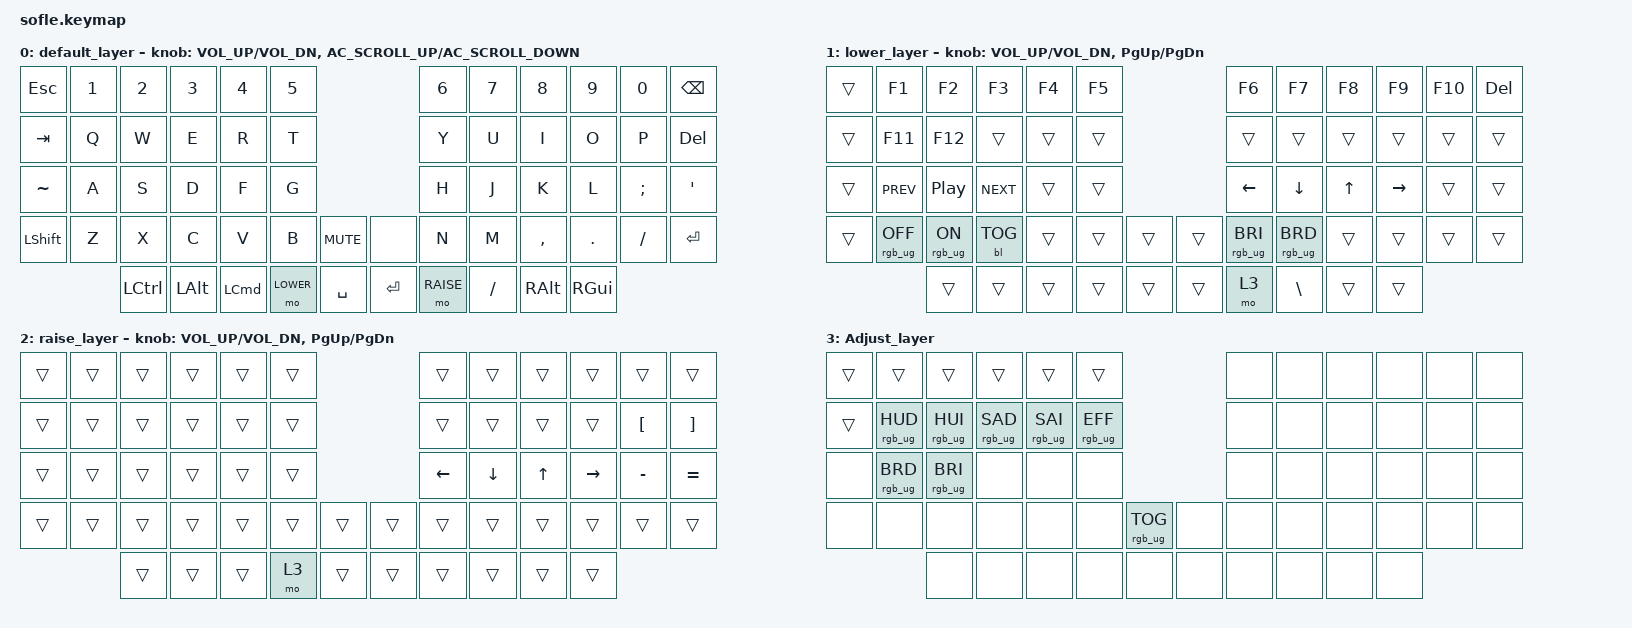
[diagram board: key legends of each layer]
/*
 * Copyright (c) 2020 The ZMK Contributors
 *
 * SPDX-License-Identifier: MIT
 */

#include <behaviors.dtsi>
#include <dt-bindings/zmk/backlight.h>
#include <dt-bindings/zmk/keys.h>
#include <dt-bindings/zmk/rgb.h>

#define BASE 0
#define LOWER 1
#define RAISE 2
#define ADJUST 3

/ {
    // Activate ADJUST layer by pressing raise and lower

    conditional_layers {
        compatible = "zmk,conditional-layers";

        adjust_layer {
            if-layers = <LOWER RAISE>;
            then-layer = <ADJUST>;
        };
    };

    keymap {
        compatible = "zmk,keymap";

        default_layer {
            // ------------------------------------------------------------------------------------------------------------
            // |  `    |  1  |  2  |  3   |  4   |  5   |                   |  6   |  7    |  8    |  9   |   0   |       |
            // |  ESC  |  Q  |  W  |  E   |  R   |  T   |                   |  Y   |  U    |  I    |  O   |   P   | BKSPC |
            // |  TAB  |  A  |  S  |  D   |  F   |  G   |                   |  H   |  J    |  K    |  L   |   ;   |   '   |
            // | SHIFT |  Z  |  X  |  C   |  V   |  B   |  MUTE  |  |       |  N   |  M    |  ,    |  .   |   /   | SHIFT |
            //               | GUI | ALT  | CTRL | LOWER|  ENTER |  | SPACE | RAISE| CTRL  | ALT   | GUI  |

            bindings = <
&kp ESCAPE  &kp N1  &kp N2     &kp N3    &kp N4            &kp N5                            &kp N6     &kp N7     &kp N8     &kp N9    &kp N0    &kp BACKSPACE
&kp TAB     &kp Q   &kp W      &kp E     &kp R             &kp T                             &kp Y      &kp U      &kp I      &kp O     &kp P     &kp DEL
&kp TILDE   &kp A   &kp S      &kp D     &kp F             &kp G                             &kp H      &kp J      &kp K      &kp L     &kp SEMI  &kp SQT
&kp LSHFT   &kp Z   &kp X      &kp C     &kp V             &kp B      &kp C_MUTE    &none    &kp N      &kp M      &kp COMMA  &kp DOT   &kp FSLH  &kp RET
                    &kp LCTRL  &kp LALT  &kp LEFT_COMMAND  &mo LOWER  &kp SPACE     &kp RET  &mo RAISE  &kp SLASH  &kp RALT   &kp RGUI
            >;

            sensor-bindings =
                <&inc_dec_kp C_VOL_UP C_VOL_DN>,
                <&inc_dec_kp C_AC_SCROLL_UP C_AC_SCROLL_DOWN>;
        };

        lower_layer {
            // TODO: Some binds are waiting for shifted keycode support.
            // ------------------------------------------------------------------------------------------------------------
            // |       |  F1 |  F2 |  F3  |  F4  |  F5  |                   |  F6  |  F7   |  F8   |  F9  |  F10  |  F11  |
            // | `     |   1 |   2 |   3  |   4  |   5  |                   |   6  |   7   |   8   |   9  |    0  |  F12  |
            // |       |  !  |  @  |  #   |  $   |  %   |                   |  ^   |  &    |  *    |  (   |   )   |   |   |
            // |       |  =  |  -  |  +   |  {   |  }   |        |  |       |  [   |  ]    |  ;    |  :   |   \   |       |
            //               |     |      |      |      |        |  |       |      |       |       |      |

            bindings = <
&trans  &kp F1           &kp F2            &kp F3      &kp F4  &kp F5                    &kp F6           &kp F7           &kp F8        &kp F9     &kp F10  &kp DEL
&trans  &kp F11          &kp F12           &trans      &trans  &trans                    &trans           &trans           &trans        &trans     &trans   &trans
&trans  &kp C_PREV       &kp C_PLAY_PAUSE  &kp C_NEXT  &trans  &trans                    &kp LEFT         &kp DOWN_ARROW   &kp UP_ARROW  &kp RIGHT  &trans   &trans
&trans  &rgb_ug RGB_OFF  &rgb_ug RGB_ON    &bl BL_TOG  &trans  &trans  &trans    &trans  &rgb_ug RGB_BRI  &rgb_ug RGB_BRD  &trans        &trans     &trans   &trans
                         &trans            &trans      &trans  &trans  &trans    &trans  &mo 3            &kp BACKSLASH    &trans        &trans
            >;

            sensor-bindings = <&inc_dec_kp C_VOL_UP C_VOL_DN &inc_dec_kp PG_UP PG_DN>;
        };

        raise_layer {
            // ------------------------------------------------------------------------------------------------------------
            // |BTCLR| BT1  | BT2  |  BT3  |  BT4  |  BT5 |                |      |      |       |      |       |       |
            // |     | INS  | PSCR | GUI   |       |      |                | PGUP |      |   ^   |      |       |       |
            // |     | ALT  | CTRL | SHIFT |       | CAPS |                | PGDN |   <- |   v   |  ->  |  DEL  | BKSPC |
            // |     | UNDO | CUT  | COPY  | PASTE |      |      |  |      |      |      |       |      |       |       |
            //              |      |       |       |      |      |  |      |      |      |       |      |

            bindings = <
&trans  &trans  &trans  &trans  &trans  &trans                    &trans          &trans    &trans        &trans     &trans            &trans
&trans  &trans  &trans  &trans  &trans  &trans                    &trans          &trans    &trans        &trans     &kp LEFT_BRACKET  &kp RIGHT_BRACKET
&trans  &trans  &trans  &trans  &trans  &trans                    &kp LEFT_ARROW  &kp DOWN  &kp UP_ARROW  &kp RIGHT  &kp MINUS         &kp EQUAL
&trans  &trans  &trans  &trans  &trans  &trans  &trans    &trans  &trans          &trans    &trans        &trans     &trans            &trans
                &trans  &trans  &trans  &mo 3   &trans    &trans  &trans          &trans    &trans        &trans
            >;

            sensor-bindings = <&inc_dec_kp C_VOL_UP C_VOL_DN &inc_dec_kp PG_UP PG_DN>;
        };

        // ------------------------------------------------------------------------------------------------------------
        // |BTCLR | BT1   | BT2   |  BT3  |  BT4  |  BT5  |                |      |      |       |      |       |       |
        // |EXTPWR|RGB_HUD|RGB_HUI|RGB_SAD|RGB_SAI|RGB_EFF|                |      |      |       |      |       |       |
        // |      |RGB_BRD|RGB_BRI|       |       |       |                |      |      |       |      |       |       |
        // |      |       |       |       |       |       |RGB_TOG| |      |      |      |       |      |       |       |
        //                |       |       |       |       |       | |      |      |      |       |      |

        Adjust_layer {
            bindings = <
&trans  &trans           &trans           &trans           &trans           &trans                                     &none  &none  &none  &none  &none  &none
&trans  &rgb_ug RGB_HUD  &rgb_ug RGB_HUI  &rgb_ug RGB_SAD  &rgb_ug RGB_SAI  &rgb_ug RGB_EFF                            &none  &none  &none  &none  &none  &none
&none   &rgb_ug RGB_BRD  &rgb_ug RGB_BRI  &none            &none            &none                                      &none  &none  &none  &none  &none  &none
&none   &none            &none            &none            &none            &none            &rgb_ug RGB_TOG    &none  &none  &none  &none  &none  &none  &none
                         &none            &none            &none            &none            &none              &none  &none  &none  &none  &none
            >;
        };
    };
};
